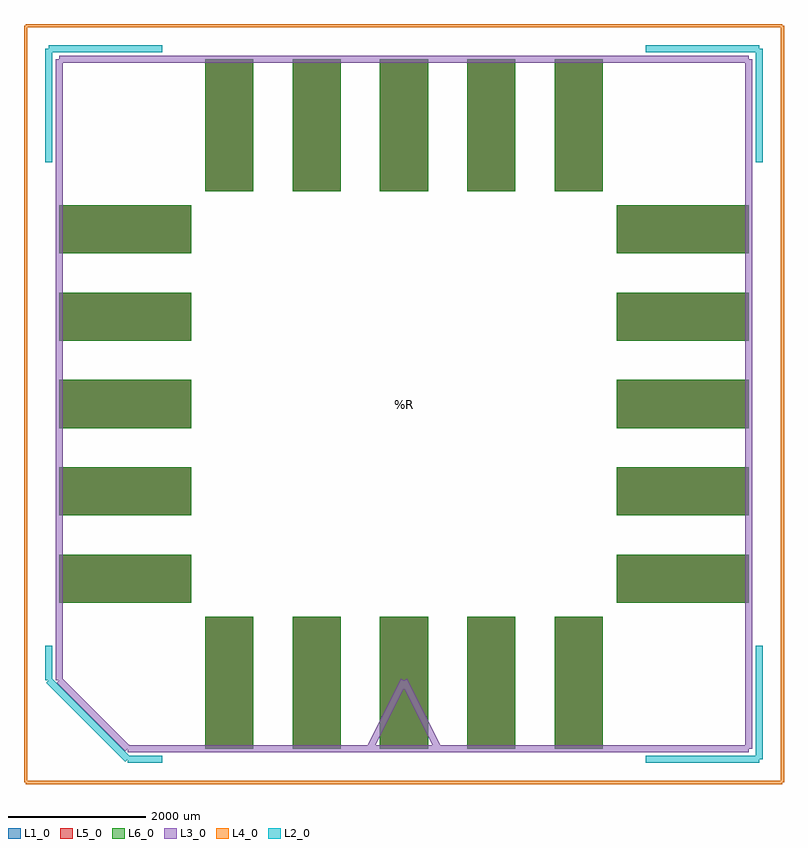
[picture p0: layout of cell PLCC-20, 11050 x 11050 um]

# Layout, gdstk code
import gdstk
lib = gdstk.Library(unit=1e-6, precision=1e-09)
def R(c, l, rs):  # rectangles x0, y0, x1, y1
    for r in rs: c.add(gdstk.rectangle(r[:2], r[2:], *l))
def A(c, l, x, y, w, h, nx, ny, dx, dy):  # array of equal rectangles
    R(c, l, [(x+i*dx, y+j*dy, x+i*dx+w, y+j*dy+h) for i in range(nx) for j in range(ny)])
L1_0 = (1, 0)
L2_0 = (2, 0)
L3_0 = (3, 0)
L4_0 = (4, 0)
L5_0 = (5, 0)
L6_0 = (6, 0)

plcc_20 = lib.new_cell('PLCC-20')
A(plcc_20, L1_0, -2890, -5015, 700, 1925, 5, 2, 1270, 8105)
A(plcc_20, L1_0, -5015, -2890, 1925, 700, 1, 5, 0, 1270)
A(plcc_20, L1_0, 3090, -2890, 1925, 700, 1, 5, 0, 1270)
A(plcc_20, L5_0, -2890, -5015, 700, 1925, 5, 2, 1270, 8105)
A(plcc_20, L5_0, -5015, -2890, 1925, 700, 1, 5, 0, 1270)
A(plcc_20, L5_0, 3090, -2890, 1925, 700, 1, 5, 0, 1270)
A(plcc_20, L6_0, -2890, -5015, 700, 1925, 5, 2, 1270, 8105)
A(plcc_20, L6_0, -5015, -2890, 1925, 700, 1, 5, 0, 1270)
A(plcc_20, L6_0, 3090, -2890, 1925, 700, 1, 5, 0, 1270)
plcc_20.add(gdstk.FlexPath([(-4015,-5015),(-5015,-4015)], 100, ends="flush", simple_path=True, layer=3, datatype=0))  # L3_0
plcc_20.add(gdstk.FlexPath([(-5015,-4015),(-5015,5015)], 100, ends="flush", simple_path=True, layer=3, datatype=0))  # L3_0
plcc_20.add(gdstk.FlexPath([(-5015,5015),(5015,5015)], 100, ends="flush", simple_path=True, layer=3, datatype=0))  # L3_0
plcc_20.add(gdstk.FlexPath([(5015,5015),(5015,-5015)], 100, ends="flush", simple_path=True, layer=3, datatype=0))  # L3_0
plcc_20.add(gdstk.FlexPath([(5015,-5015),(-4015,-5015)], 100, ends="flush", simple_path=True, layer=3, datatype=0))  # L3_0
plcc_20.add(gdstk.FlexPath([(-5500,-5500),(-5500,5500)], 50, ends="flush", simple_path=True, layer=4, datatype=0))  # L4_0
plcc_20.add(gdstk.FlexPath([(-5500,5500),(5500,5500)], 50, ends="flush", simple_path=True, layer=4, datatype=0))  # L4_0
plcc_20.add(gdstk.FlexPath([(5500,5500),(5500,-5500)], 50, ends="flush", simple_path=True, layer=4, datatype=0))  # L4_0
plcc_20.add(gdstk.FlexPath([(5500,-5500),(-5500,-5500)], 50, ends="flush", simple_path=True, layer=4, datatype=0))  # L4_0
plcc_20.add(gdstk.FlexPath([(-500,-5015),(0,-4015)], 100, ends="flush", simple_path=True, layer=3, datatype=0))  # L3_0
plcc_20.add(gdstk.FlexPath([(0,-4015),(500,-5015)], 100, ends="flush", simple_path=True, layer=3, datatype=0))  # L3_0
plcc_20.add(gdstk.FlexPath([(-3515,-5165),(-4015,-5165)], 100, ends="flush", simple_path=True, layer=2, datatype=0))  # L2_0
plcc_20.add(gdstk.FlexPath([(-4015,-5165),(-5165,-4015)], 100, ends="flush", simple_path=True, layer=2, datatype=0))  # L2_0
plcc_20.add(gdstk.FlexPath([(-5165,-4015),(-5165,-3515)], 100, ends="flush", simple_path=True, layer=2, datatype=0))  # L2_0
plcc_20.add(gdstk.FlexPath([(3515,-5165),(5165,-5165)], 100, ends="flush", simple_path=True, layer=2, datatype=0))  # L2_0
plcc_20.add(gdstk.FlexPath([(5165,-5165),(5165,-3515)], 100, ends="flush", simple_path=True, layer=2, datatype=0))  # L2_0
plcc_20.add(gdstk.FlexPath([(-3515,5165),(-5165,5165)], 100, ends="flush", simple_path=True, layer=2, datatype=0))  # L2_0
plcc_20.add(gdstk.FlexPath([(-5165,5165),(-5165,3515)], 100, ends="flush", simple_path=True, layer=2, datatype=0))  # L2_0
plcc_20.add(gdstk.FlexPath([(3515,5165),(5165,5165)], 100, ends="flush", simple_path=True, layer=2, datatype=0))  # L2_0
plcc_20.add(gdstk.FlexPath([(5165,5165),(5165,3515)], 100, ends="flush", simple_path=True, layer=2, datatype=0))  # L2_0
plcc_20.add(gdstk.Label('REF**', (0,-6015), layer=2, texttype=0))
plcc_20.add(gdstk.Label('PLCC-20', (0,6015), layer=3, texttype=0))
plcc_20.add(gdstk.Label('%R', (0,0), layer=3, texttype=0))

lib.write_gds('PLCC-20.gds')
